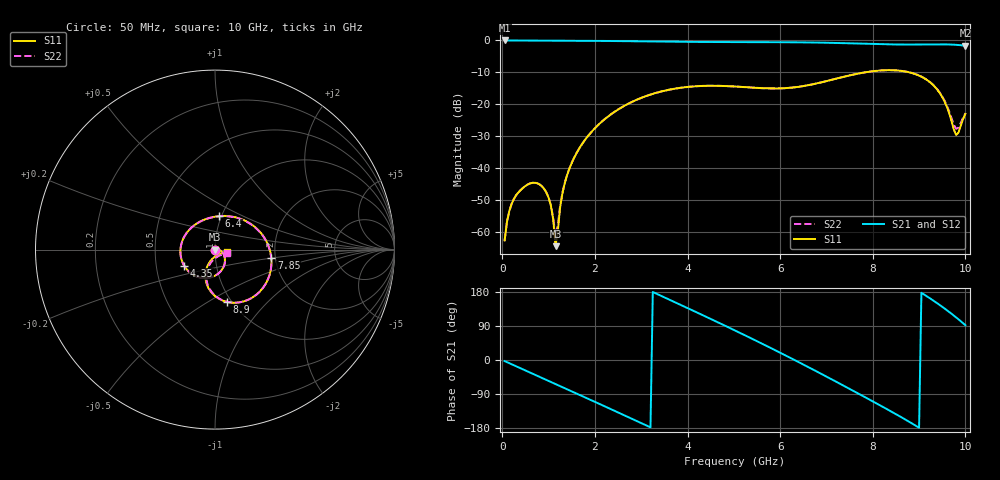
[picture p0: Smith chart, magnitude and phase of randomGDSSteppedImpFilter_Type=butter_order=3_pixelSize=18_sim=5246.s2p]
! freq	dB(S11)	phase(S11)	dB(S12)	phase(S12)
!  dB(S21)	phase(S21)	dB(S22)	phase(S22)
!S-par simulation data
#  GHz  S  DB  R 50
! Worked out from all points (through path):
!   200 points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, 50 MHz to 10 GHz, reference 50 ohm
!   highest |S21| = -0.01 dB at 50 MHz (marker M1); lowest = -1.7 dB at 10 GHz (marker M2)
!   group delay of S21, straight-line fit = 169 ps
!   lowest |S11| = -64.5 dB at 1.15 GHz (marker M3), VSWR 1.00, Z = 49.9 + j0.0204 ohm
!   |S11| at or under -10 dB: start of sweep to 7.835 GHz; 8.788 GHz to end of sweep
!   |S22| runs from -62.7 to -9.3 dB; largest |S21 - S12| = 0
!   S11 on the Smith chart (normalised r, x): 50 MHz: 1.00, -0.00; 4.35 GHz: 0.70, -0.13; 6.4 GHz: 0.97, +0.38; 7.85 GHz: 1.90, -0.21; 8.9 GHz: 0.96, -0.61; 10 GHz: 1.15, -0.03
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0.05  -62.74 -55.9  -0.01 -2.8  -0.01 -2.8  -62.74 -56.0
0.25  -49.69 -93.3  -0.02 -13.8  -0.02 -13.8  -49.70 -93.6
0.7  -44.62 -128.8  -0.06 -38.6  -0.06 -38.6  -44.63 -130.1
1  -49.32 -148.9  -0.07 -55.0  -0.07 -55.0  -49.28 -153.7
1.1  -56.15 -161.9  -0.07 -60.6  -0.07 -60.6  -55.69 -173.8
1.15  -64.51 159.9  -0.08 -63.3  -0.08 -63.3  -61.40 142.2
1.35  -44.69 20.6  -0.09 -74.4  -0.09 -74.4  -44.56 25.3
1.75  -31.91 -4.8  -0.12 -96.5  -0.12 -96.5  -31.89 -3.2
2.65  -20.39 -56.4  -0.22 -146.8  -0.22 -146.8  -20.38 -55.7
3.4  -16.13 -98.6  -0.35 171.0  -0.35 171.0  -16.13 -98.3
4.35  -14.25 -152.4  -0.49 117.1  -0.49 117.1  -14.25 -152.4
5.05  -14.47 166.9  -0.52 76.4  -0.52 76.4  -14.48 166.5
5.8  -15.05 121.2  -0.54 31.5  -0.54 31.5  -15.06 120.4
6.4  -14.54 83.5  -0.59 -5.6  -0.59 -5.6  -14.54 82.3
6.7  -13.77 64.4  -0.64 -24.6  -0.64 -24.6  -13.77 63.3
7.3  -11.66 26.2  -0.82 -63.2  -0.82 -63.2  -11.66 25.4
7.85  -9.96 -8.8  -1.06 -99.2  -1.06 -99.2  -9.96 -9.3
8.35  -9.32 -40.9  -1.24 -132.6  -1.24 -132.6  -9.31 -40.9
8.9  -10.46 -76.8  -1.28 -171.3  -1.28 -171.3  -10.44 -76.2
9.45  -16.57 -111.1  -1.21 144.8  -1.21 144.8  -16.43 -108.7
9.8  -29.64 -67.4  -1.38 112.4  -1.38 112.4  -27.73 -68.3
10  -23.04 -10.1  -1.66 91.9  -1.66 91.9  -22.83 -16.5
